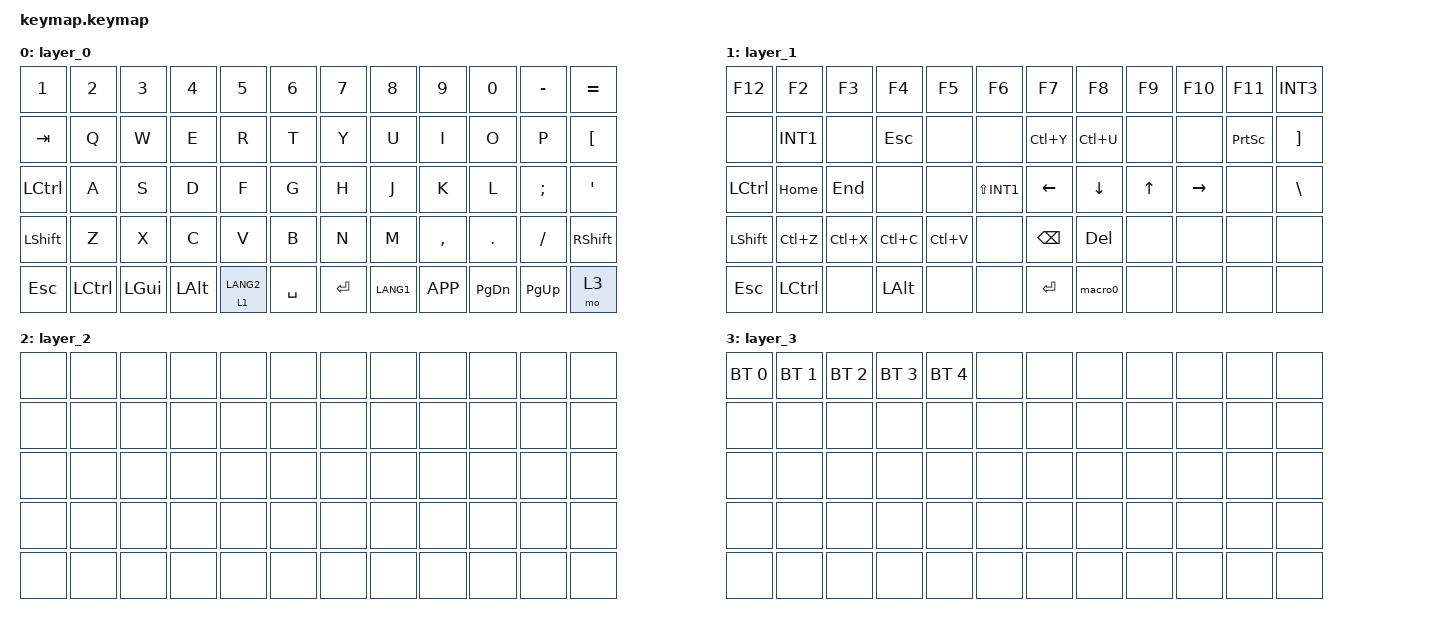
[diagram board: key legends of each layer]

#include <behaviors.dtsi>
#include <dt-bindings/zmk/keys.h>
#include <dt-bindings/zmk/bt.h>


/ {
    macros {
        macro0: macro0 {
            compatible = "zmk,behavior-macro";
            label = "MACRO0";
            #binding-cells = <0>;

            bindings
                = <&macro_press   &kp LCTRL>
                , <&macro_tap     &kp SLASH>
                , <&macro_release &kp LCTRL>
                , <&macro_tap     &kp DOWN>
                ;
        };
    };

    keymap {
        compatible = "zmk,keymap";

        layer_0 {
            bindings =<
                &kp N1    &kp N2    &kp N3    &kp N4    &kp N5      &kp N6     &kp N7    &kp N8    &kp N9    &kp N0    &kp MINUS  &kp EQUAL
                &kp TAB   &kp Q     &kp W     &kp E     &kp R       &kp T      &kp Y     &kp U     &kp I     &kp O     &kp P      &kp LBKT  
                &kp LCTRL &kp A     &kp S     &kp D     &kp F       &kp G      &kp H     &kp J     &kp K     &kp L     &kp SEMI   &kp SQT
                &kp LSHFT &kp Z     &kp X     &kp C     &kp V       &kp B      &kp N     &kp M     &kp COMMA &kp DOT   &kp SLASH  &kp RSHFT
                &kp ESC   &kp LCTRL &kp LGUI  &kp LALT  &lt 1 LANG2 &kp SPACE  &kp RET   &kp LANG1 &kp K_APP &kp PG_DN &kp PG_UP  &mo 3
            >;
        };

        layer_1 {
            bindings =<
                &kp F12   &kp F2    &kp F3    &kp F4    &kp F5    &kp F6        &kp F7     &kp F8     &kp F9    &kp F10    &kp F11    &kp INT3
                &none     &kp INT1  &none     &kp ESC   &none     &none         &kp LC(Y)  &kp LC(U)  &none     &none      &kp PSCRN  &kp RBKT  
                &kp LCTRL &kp HOME  &kp END   &none     &none     &kp LS(INT1)  &kp LEFT   &kp DOWN   &kp UP    &kp RIGHT  &none      &kp BSLH
                &kp LSHFT &kp LC(Z) &kp LC(X) &kp LC(C) &kp LC(V) &none         &kp BSPC   &kp DEL    &none     &none      &none      &none
                &kp ESC   &kp LCTRL &none     &kp LALT  &none     &none         &kp RET    &macro0    &none     &none      &none      &none
            >;
        };

        layer_2 {
            bindings =<
                &none &none &none &none &none &none &none &none &none &none &none &none
				&none &none &none &none &none &none &none &none &none &none &none &none
				&none &none &none &none &none &none &none &none &none &none &none &none
				&none &none &none &none &none &none &none &none &none &none &none &none
				&none &none &none &none &none &none &none &none &none &none &none &none
            >;
        };

        layer_3 {
            bindings =<
                &bt BT_SEL 0 &bt BT_SEL 1 &bt BT_SEL 2 &bt BT_SEL 3 &bt BT_SEL 4 &none   &none  &none  &none  &none  &none  &none
				&none        &none        &none        &none        &none        &none   &none  &none  &none  &none  &none  &none
				&none        &none        &none        &none        &none        &none   &none  &none  &none  &none  &none  &none
				&none        &none        &none        &none        &none        &none   &none  &none  &none  &none  &none  &none
				&none        &none        &none        &none        &none        &none   &none  &none  &none  &none  &none  &none
            >;
        };
    };
};
